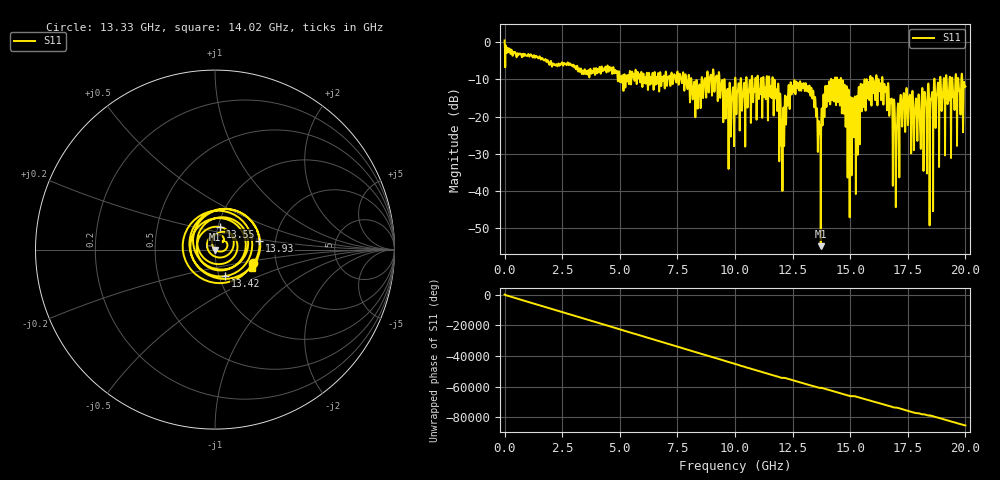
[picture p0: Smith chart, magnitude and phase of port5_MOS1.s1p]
! MS46122B
! 2250307/22442219
! 7/26/2025 10:26:01 AM
! C:\USERS\SPARKY\DOCUMENTS\VNA_DATA\JULY26_2025\295K\PORT5_MOS1.S1P
! CHANNEL.1
! TR.MEASUREMENT
! RAW.DATA
# GHZ S RI R 50.0
! FREQ.GHZ  S11RE  S11IM
!; PortSelection: Port_1
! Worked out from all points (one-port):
!   10001 points, 1 MHz to 20 GHz, reference 50 ohm
!   lowest |S11| = -54.8 dB at 13.72 GHz (marker M1), VSWR 1.00, Z = 50.2 - j0.0524 ohm
!   |S11| at or under -10 dB: 11.64 GHz to 14.17 GHz (2.528 GHz wide, 19.6 % of centre); 14.6 GHz to 15.62 GHz (1.02 GHz wide, 6.75 % of centre); 16.41 GHz to 18.65 GHz (2.24 GHz wide, 12.8 % of centre) (the widest 3 of 73)
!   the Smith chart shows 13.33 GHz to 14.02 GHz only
!   S11 on the Smith chart (normalised r, x): 13.33 GHz: 1.51, -0.24; 13.42 GHz: 1.07, -0.33; 13.55 GHz: 1.03, +0.26; 13.93 GHz: 1.65, +0.17; 14.02 GHz: 1.47, -0.32
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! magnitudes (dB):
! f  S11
! 1 MHz  0.4
! 2.501 GHz  -5.5
! 5.001 GHz  -10.4
! 7.501 GHz  -7.9
! 10 GHz  -10.1
! 11.55 GHz  -11.9
! 11.8 GHz  -13.0
! 12.07 GHz  -24.6
! 12.5 GHz  -11.7
! 13.33 GHz  -13.0
! 13.42 GHz  -16.0
! 13.55 GHz  -17.8
! 13.72 GHz  -54.8
! 13.93 GHz  -11.9
! 14.02 GHz  -12.8
! 14.51 GHz  -10.2
! 15 GHz  -16.6
! 16.31 GHz  -11.5
! 16.72 GHz  -16.4
! 16.93 GHz  -17.3
! 17.05 GHz  -19.6
! 17.13 GHz  -36.3
! 17.5 GHz  -21.7
! 17.99 GHz  -15.4
! 18.19 GHz  -21.1
! 18.52 GHz  -15.2
! 18.73 GHz  -16.7
! 20 GHz  -12.0
